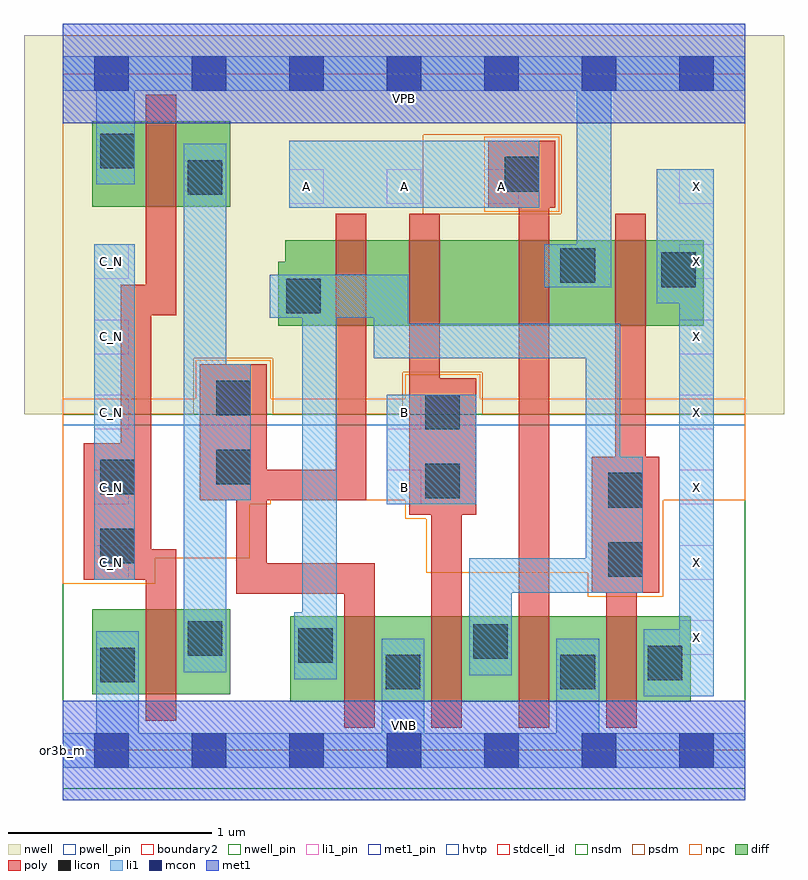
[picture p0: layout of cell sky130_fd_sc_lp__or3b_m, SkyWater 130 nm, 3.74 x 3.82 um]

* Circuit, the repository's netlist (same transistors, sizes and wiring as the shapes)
* Copyright 2020 The SkyWater PDK Authors
*
* Licensed under the Apache License, Version 2.0 (the "License");
* you may not use this file except in compliance with the License.
* You may obtain a copy of the License at
*
*     https://www.apache.org/licenses/LICENSE-2.0
*
* Unless required by applicable law or agreed to in writing, software
* distributed under the License is distributed on an "AS IS" BASIS,
* WITHOUT WARRANTIES OR CONDITIONS OF ANY KIND, either express or implied.
* See the License for the specific language governing permissions and
* limitations under the License.
*
* SPDX-License-Identifier: Apache-2.0

.SUBCKT sky130_fd_sc_lp__or3b_m A B C_N VGND VNB VPB VPWR X
*.PININFO A:I B:I C_N:I VGND:I VNB:I VPB:I VPWR:I X:O
MMP0 VPWR A sndPA VPB sky130_fd_pr__pfet_01v8_hvt m=1 w=0.42U l=0.15U mult=1 sa=0.265
+ sb=0.265 sd=0.28 area=0.063 perim=1.14
MMP1 sndPA B sndPB VPB sky130_fd_pr__pfet_01v8_hvt m=1 w=0.42U l=0.15U mult=1 sa=0.265
+ sb=0.265 sd=0.28 area=0.063 perim=1.14
MMP2 sndPB C y VPB sky130_fd_pr__pfet_01v8_hvt m=1 w=0.42U l=0.15U mult=1 sa=0.265
+ sb=0.265 sd=0.28 area=0.063 perim=1.14
MMIP2 C C_N VPWR VPB sky130_fd_pr__pfet_01v8_hvt m=1 w=0.42U l=0.15U mult=1 sa=0.265
+ sb=0.265 sd=0.28 area=0.063 perim=1.14
MMIP3 X y VPWR VPB sky130_fd_pr__pfet_01v8_hvt m=1 w=0.42U l=0.15U mult=1 sa=0.265
+ sb=0.265 sd=0.28 area=0.063 perim=1.14
MMN0 y A VGND VNB sky130_fd_pr__nfet_01v8 m=1 w=0.42U l=0.15U mult=1 sa=0.265 sb=0.265
+ sd=0.28 area=0.063 perim=1.14
MMN1 y B VGND VNB sky130_fd_pr__nfet_01v8 m=1 w=0.42U l=0.15U mult=1 sa=0.265 sb=0.265
+ sd=0.28 area=0.063 perim=1.14
MMN2 y C VGND VNB sky130_fd_pr__nfet_01v8 m=1 w=0.42U l=0.15U mult=1 sa=0.265 sb=0.265
+ sd=0.28 area=0.063 perim=1.14
MMIN2 C C_N VGND VNB sky130_fd_pr__nfet_01v8 m=1 w=0.42U l=0.15U mult=1 sa=0.265
+ sb=0.265 sd=0.28 area=0.063 perim=1.14
MMIN3 X y VGND VNB sky130_fd_pr__nfet_01v8 m=1 w=0.42U l=0.15U mult=1 sa=0.265
+ sb=0.265 sd=0.28 area=0.063 perim=1.14
.ENDS sky130_fd_sc_lp__or3b_m

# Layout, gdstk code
import gdstk
lib = gdstk.Library(unit=1e-6, precision=1e-09)
def R(c, l, rs):  # rectangles x0, y0, x1, y1
    for r in rs: c.add(gdstk.rectangle(r[:2], r[2:], *l))
def A(c, l, x, y, w, h, nx, ny, dx, dy):  # array of equal rectangles
    R(c, l, [(x+i*dx, y+j*dy, x+i*dx+w, y+j*dy+h) for i in range(nx) for j in range(ny)])
def P(c, l, *ps):  # polygons
    for p in ps: c.add(gdstk.Polygon(p, *l))
nwell_pin = (64, 16)
nwell = (64, 20)
diff = (65, 20)
poly = (66, 20)
licon = (66, 44)
li1_pin = (67, 16)
li1 = (67, 20)
mcon = (67, 44)
met1_pin = (68, 16)
met1 = (68, 20)
hvtp = (78, 44)
stdcell_id = (81, 4)
nsdm = (93, 44)
psdm = (94, 20)
npc = (95, 20)
pwell_pin = (122, 16)
boundary2 = (236, 0)

sky130_fd_sc_lp__or3b_m = lib.new_cell('sky130_fd_sc_lp__or3b_m')
R(sky130_fd_sc_lp__or3b_m, nwell_pin, [(0,3.085,3.36,3.33)])
R(sky130_fd_sc_lp__or3b_m, nwell, [(-0.19,1.655,3.55,3.52)])
R(sky130_fd_sc_lp__or3b_m, diff, [(1.12,0.24,3.09,0.66), (0.145,0.275,0.825,0.695), (0.145,2.675,0.825,3.095)])
P(sky130_fd_sc_lp__or3b_m, diff, [(3.155,2.51),(1.095,2.51),(1.095,2.405),(1.06,2.405),(1.06,2.09),(3.155,2.09)])
P(sky130_fd_sc_lp__or3b_m, poly, [(0.56,0.99),(0.435,0.99),(0.435,2.14),(0.56,2.14),(0.56,3.225),(0.41,3.225),(0.41,2.29),(0.285,2.29),(0.285,1.51),(0.105,1.51),(0.105,0.84),(0.41,0.84),(0.41,0.145),(0.56,0.145)],
  [(1.535,0.92),(1.005,0.92),(1.005,1.23),(1.495,1.23),(1.495,2.64),(1.345,2.64),(1.345,1.38),(1.005,1.38),(1.005,1.9),(0.675,1.9),(0.675,1.23),(0.855,1.23),(0.855,0.77),(1.385,0.77),(1.385,0.11),(1.535,0.11)],
  [(2.035,1.83),(1.855,1.83),(1.855,2.64),(1.705,2.64),(1.705,1.16),(1.815,1.16),(1.815,0.11),(1.965,0.11),(1.965,1.16),(2.035,1.16)],
  [(2.425,3),(2.095,3),(2.095,2.67),(2.245,2.67),(2.245,0.11),(2.395,0.11),(2.395,2.67),(2.425,2.67)],
  [(2.935,1.445),(2.87,1.445),(2.87,2.64),(2.72,2.64),(2.72,1.445),(2.605,1.445),(2.605,0.775),(2.675,0.775),(2.675,0.11),(2.825,0.11),(2.825,0.775),(2.935,0.775)])
R(sky130_fd_sc_lp__or3b_m, licon, [(1.59,0.3,1.76,0.47), (2.45,0.3,2.62,0.47), (0.185,0.335,0.355,0.505), (2.88,0.345,3.05,0.515), (1.16,0.43,1.33,0.6), (2.02,0.45,2.19,0.62), (0.615,0.465,0.785,0.635), (2.685,0.855,2.855,1.025), (0.185,0.92,0.355,1.09), (2.685,1.195,2.855,1.365), (1.785,1.24,1.955,1.41), (0.185,1.26,0.355,1.43), (0.755,1.31,0.925,1.48), (1.785,1.58,1.955,1.75), (0.755,1.65,0.925,1.82), (1.1,2.15,1.27,2.32), (2.945,2.28,3.115,2.45), (2.45,2.3,2.62,2.47), (0.615,2.735,0.785,2.905), (2.175,2.75,2.345,2.92), (0.185,2.865,0.355,3.035)])
A(sky130_fd_sc_lp__or3b_m, li1_pin, 0.155, 1.21, 0.17, 0.17, 3, 2, 1.44, 0.37)
A(sky130_fd_sc_lp__or3b_m, li1_pin, 3.035, 1.95, 0.17, 0.17, 1, 3, 0, 0.37)
A(sky130_fd_sc_lp__or3b_m, li1_pin, 1.115, 2.69, 0.17, 0.17, 3, 1, 0.48, 0)
R(sky130_fd_sc_lp__or3b_m, li1_pin, [(3.035,0.47,3.205,0.64), (0.155,0.84,0.325,1.01), (3.035,0.84,3.205,1.01), (0.155,1.95,0.325,2.12), (0.155,2.32,0.325,2.49)])
R(sky130_fd_sc_lp__or3b_m, li1, [(0.155,0.84,0.355,2.49), (1.595,1.21,2.035,1.75), (1.115,2.67,2.345,3)])
P(sky130_fd_sc_lp__or3b_m, li1, [(2.53,2.49),(2.53,3.245),(0.355,3.245),(0.355,2.785),(0.165,2.785),(0.165,3.245),(0,3.245),(0,3.415),(3.36,3.415),(3.36,3.245),(2.7,3.245),(2.7,2.28),(2.37,2.28),(2.37,2.49)],
  [(1.57,0.085),(1.57,0.55),(1.78,0.55),(1.78,0.085),(2.43,0.085),(2.43,0.55),(2.64,0.55),(2.64,0.085),(3.36,0.085),(3.36,-0.085),(0,-0.085),(0,0.085),(0.165,0.085),(0.165,0.585),(0.375,0.585),(0.375,0.085)],
  [(2.575,0.945),(2.575,1.93),(1.53,1.93),(1.53,2.13),(1.35,2.13),(1.35,0.35),(1.14,0.35),(1.14,0.68),(1.18,0.68),(1.18,2.13),(1.02,2.13),(1.02,2.34),(1.7,2.34),(1.7,2.1),(2.745,2.1),(2.745,1.445),(2.855,1.445),(2.855,0.775),(2.21,0.775),(2.21,0.37),(2,0.37),(2,0.945)],
  [(3.035,0.595),(3.035,2.2),(2.925,2.2),(2.925,2.86),(3.205,2.86),(3.205,0.265),(2.86,0.265),(2.86,0.595)],
  [(0.805,1.9),(0.925,1.9),(0.925,1.23),(0.805,1.23),(0.805,0.385),(0.595,0.385),(0.595,2.985),(0.805,2.985)])
A(sky130_fd_sc_lp__or3b_m, mcon, 0.155, -0.085, 0.17, 0.17, 7, 2, 0.48, 3.33)
R(sky130_fd_sc_lp__or3b_m, met1_pin, [(0,0,3.36,0.245), (0,3.085,3.36,3.33)])
R(sky130_fd_sc_lp__or3b_m, met1, [(0,-0.245,3.36,0.245), (0,3.085,3.36,3.575)])
R(sky130_fd_sc_lp__or3b_m, hvtp, [(0,1.6,3.36,3.33)])
R(sky130_fd_sc_lp__or3b_m, stdcell_id, [(0,0,3.36,3.33)])
R(sky130_fd_sc_lp__or3b_m, nsdm, [(0,-0.19,3.36,1.655)])
P(sky130_fd_sc_lp__or3b_m, psdm, [(3.36,3.52),(2.455,3.52),(2.455,2.64),(1.775,2.64),(1.775,3.03),(2.455,3.03),(2.455,3.52),(0,3.52),(0,1.655),(0.645,1.655),(0.645,1.93),(1.035,1.93),(1.035,1.655),(1.675,1.655),(1.675,1.86),(2.065,1.86),(2.065,1.655),(3.36,1.655)])
R(sky130_fd_sc_lp__or3b_m, npc, [(2.075,2.65,2.445,3.02)])
P(sky130_fd_sc_lp__or3b_m, npc, [(3.36,1.73),(2.055,1.73),(2.055,1.85),(1.685,1.85),(1.685,1.73),(1.025,1.73),(1.025,1.92),(0.655,1.92),(0.655,1.73),(0,1.73),(0,0.82),(0.455,0.82),(0.455,0.945),(0.92,0.945),(0.92,1.21),(1.025,1.21),(1.025,1.23),(1.685,1.23),(1.685,1.14),(1.79,1.14),(1.79,0.875),(2.585,0.875),(2.585,0.755),(2.955,0.755),(2.955,1.23),(3.36,1.23)])
R(sky130_fd_sc_lp__or3b_m, pwell_pin, [(0,0,3.36,0.245)])
R(sky130_fd_sc_lp__or3b_m, boundary2, [(0,0,3.36,3.33)])
sky130_fd_sc_lp__or3b_m.add(gdstk.Label('VNB', (1.68,0.123), layer=64, texttype=59))
sky130_fd_sc_lp__or3b_m.add(gdstk.Label('VPB', (1.68,3.208), layer=64, texttype=5))
sky130_fd_sc_lp__or3b_m.add(gdstk.Label('or3b_m', (0,0), layer=83, texttype=44))
sky130_fd_sc_lp__or3b_m.add(gdstk.Label('VPWR', (1.68,3.208), layer=68, texttype=5))
sky130_fd_sc_lp__or3b_m.add(gdstk.Label('VGND', (1.68,0.123), layer=68, texttype=5))
sky130_fd_sc_lp__or3b_m.add(gdstk.Label('A', (1.2,2.775), layer=67, texttype=5))
sky130_fd_sc_lp__or3b_m.add(gdstk.Label('A', (1.68,2.775), layer=67, texttype=5))
sky130_fd_sc_lp__or3b_m.add(gdstk.Label('A', (2.16,2.775), layer=67, texttype=5))
sky130_fd_sc_lp__or3b_m.add(gdstk.Label('B', (1.68,1.295), layer=67, texttype=5))
sky130_fd_sc_lp__or3b_m.add(gdstk.Label('B', (1.68,1.665), layer=67, texttype=5))
sky130_fd_sc_lp__or3b_m.add(gdstk.Label('C_N', (0.24,0.925), layer=67, texttype=5))
sky130_fd_sc_lp__or3b_m.add(gdstk.Label('C_N', (0.24,1.295), layer=67, texttype=5))
sky130_fd_sc_lp__or3b_m.add(gdstk.Label('C_N', (0.24,1.665), layer=67, texttype=5))
sky130_fd_sc_lp__or3b_m.add(gdstk.Label('C_N', (0.24,2.035), layer=67, texttype=5))
sky130_fd_sc_lp__or3b_m.add(gdstk.Label('C_N', (0.24,2.405), layer=67, texttype=5))
sky130_fd_sc_lp__or3b_m.add(gdstk.Label('X', (3.12,0.555), layer=67, texttype=5))
sky130_fd_sc_lp__or3b_m.add(gdstk.Label('X', (3.12,0.925), layer=67, texttype=5))
sky130_fd_sc_lp__or3b_m.add(gdstk.Label('X', (3.12,1.295), layer=67, texttype=5))
sky130_fd_sc_lp__or3b_m.add(gdstk.Label('X', (3.12,1.665), layer=67, texttype=5))
sky130_fd_sc_lp__or3b_m.add(gdstk.Label('X', (3.12,2.035), layer=67, texttype=5))
sky130_fd_sc_lp__or3b_m.add(gdstk.Label('X', (3.12,2.405), layer=67, texttype=5))
sky130_fd_sc_lp__or3b_m.add(gdstk.Label('X', (3.12,2.775), layer=67, texttype=5))

lib.write_gds('sky130_fd_sc_lp__or3b_m.gds')
